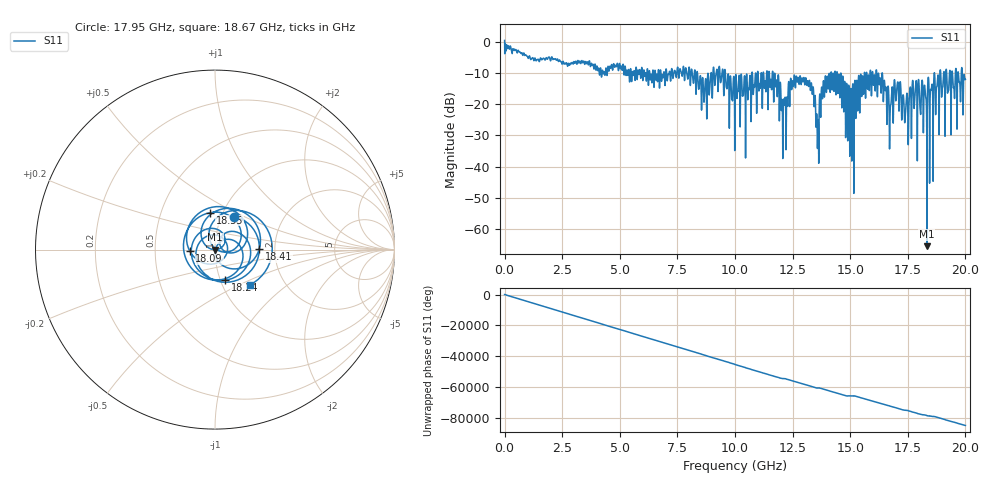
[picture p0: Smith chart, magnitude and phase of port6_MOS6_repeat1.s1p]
! MS46122B
! 2250307/22442219
! 7/21/2025 12:19:04 PM
! C:\USERS\SPARKY\DOCUMENTS\VNA_DATA\JULY21_2025\295K\PORT6_MOS6_REPEAT1.S1P
! CHANNEL.1
! TR.MEASUREMENT
! RAW.DATA
# GHZ S RI R 50.0
! FREQ.GHZ  S11RE  S11IM
!; PortSelection: Port_1
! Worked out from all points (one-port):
!   10001 points, 1 MHz to 20 GHz, reference 50 ohm
!   lowest |S11| = -65.5 dB at 18.33 GHz (marker M1), VSWR 1.00, Z = 50 - j0.0464 ohm
!   |S11| at or under -10 dB: 11.65 GHz to 14.17 GHz (2.521 GHz wide, 19.5 % of centre); 14.44 GHz to 15.62 GHz (1.179 GHz wide, 7.85 % of centre); 16.39 GHz to 18.65 GHz (2.255 GHz wide, 12.9 % of centre) (the widest 3 of 68)
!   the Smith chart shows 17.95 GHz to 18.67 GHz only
!   S11 on the Smith chart (normalised r, x): 17.95 GHz: 1.15, +0.44; 18.09 GHz: 0.75, -0.01; 18.24 GHz: 1.05, -0.37; 18.41 GHz: 1.65, +0.01; 18.55 GHz: 0.87, +0.38; 18.67 GHz: 1.34, -0.57
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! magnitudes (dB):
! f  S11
! 1 MHz  0.4
! 2.501 GHz  -7.1
! 5.001 GHz  -7.3
! 7.501 GHz  -8.4
! 8.705 GHz  -13.4
! 9.389 GHz  -12.7
! 10 GHz  -18.3
! 11.8 GHz  -12.3
! 12.14 GHz  -20.3
! 12.5 GHz  -12.5
! 13.31 GHz  -13.2
! 13.57 GHz  -27.6
! 13.84 GHz  -12.5
! 14.09 GHz  -10.2
! 15 GHz  -19.2
! 16.05 GHz  -10.7
! 16.46 GHz  -13.6
! 16.68 GHz  -18.1
! 16.99 GHz  -18.1
! 17.5 GHz  -22.1
! 17.95 GHz  -13.5
! 18.09 GHz  -17.0
! 18.24 GHz  -14.9
! 18.33 GHz  -65.5
! 18.41 GHz  -12.2
! 18.55 GHz  -13.6
! 18.67 GHz  -11.2
! 20 GHz  -12.1
